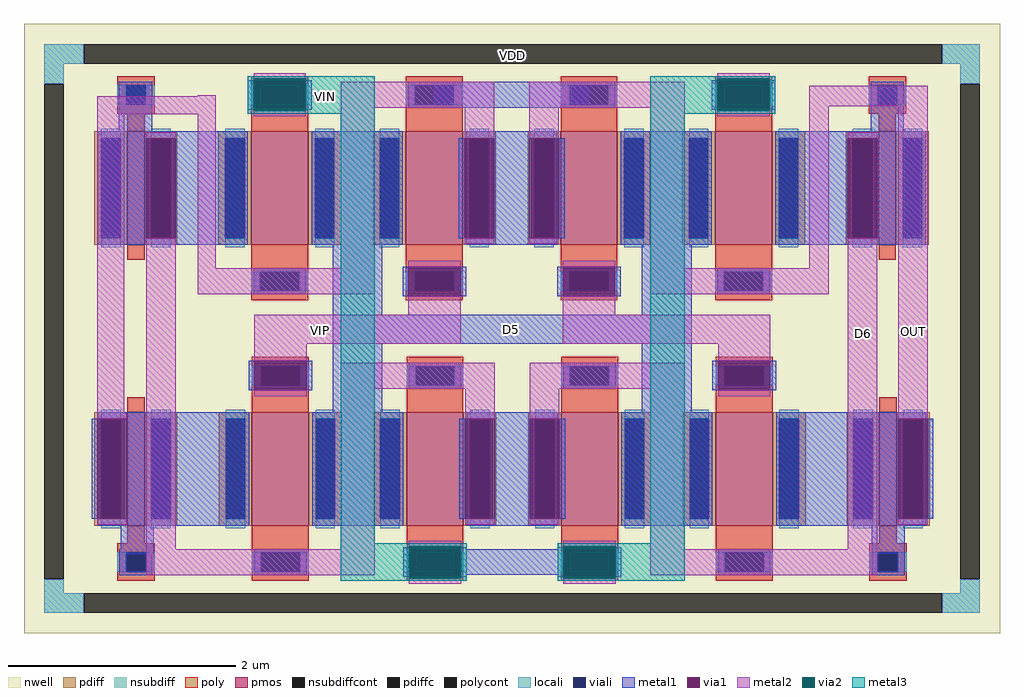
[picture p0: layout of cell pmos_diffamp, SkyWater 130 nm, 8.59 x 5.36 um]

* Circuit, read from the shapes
.subckt pmos_diffamp VIN VIP D5 OUT VDD D6
XM1 OUT OUT OUT VDD sky130_fd_pr__pfet_01v8 w=1 l=0.15 m=2
XM2 D6 D6 D6 VDD sky130_fd_pr__pfet_01v8 w=1 l=0.15 m=2
XM3 D5 VIN D6 VDD sky130_fd_pr__pfet_01v8 w=1 l=0.5 m=4
XM4 D5 VIP OUT VDD sky130_fd_pr__pfet_01v8 w=1 l=0.5 m=4
.ends

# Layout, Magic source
magic
tech sky130A
magscale 1 2
<< nwell >>
rect -306 -578 1411 494
<< nsubdiff >>
rect -270 424 -201 458
rect 1309 424 1375 458
rect -270 389 -236 424
rect -270 -508 -236 -483
rect 1341 389 1375 424
rect 1341 -508 1375 -483
rect -270 -542 -201 -508
rect 1309 -542 1375 -508
<< nsubdiffcont >>
rect -201 424 1309 458
rect -270 -483 -236 389
rect 1341 -483 1375 389
rect -201 -542 1309 -508
<< locali >>
rect -270 424 -201 458
rect 1309 424 1375 458
rect -270 389 -236 424
rect -270 -508 -236 -483
rect 1341 389 1375 424
rect 1341 -508 1375 -483
rect -270 -542 -201 -508
rect 1309 -542 1375 -508
<< metal1 >>
rect -139 305 -80 392
rect 88 343 98 395
rect 190 343 200 395
rect 415 346 689 392
rect 904 343 914 395
rect 1006 343 1016 395
rect 1184 305 1242 392
rect -176 293 88 305
rect -176 117 -91 293
rect -39 117 88 293
rect -176 105 88 117
rect 200 105 360 305
rect 472 293 632 305
rect 459 117 469 293
rect 521 117 583 293
rect 635 117 645 293
rect 472 105 632 117
rect 744 105 904 305
rect 1016 293 1280 305
rect 1016 117 1143 293
rect 1195 117 1280 293
rect 1016 105 1280 117
rect 237 -18 324 105
rect 360 15 370 67
rect 462 15 472 67
rect 632 15 642 67
rect 734 15 744 67
rect 781 -18 869 105
rect 237 -69 869 -18
rect 89 -151 99 -99
rect 191 -151 201 -99
rect 237 -189 324 -69
rect 781 -189 869 -69
rect 905 -151 915 -99
rect 1007 -151 1017 -99
rect -174 -201 90 -189
rect -187 -377 -177 -201
rect -125 -377 90 -201
rect -174 -389 90 -377
rect 201 -389 361 -189
rect 473 -201 633 -189
rect 460 -377 470 -201
rect 522 -377 584 -201
rect 636 -377 646 -201
rect 473 -389 633 -377
rect 745 -389 905 -189
rect 1017 -201 1281 -189
rect 1017 -377 1232 -201
rect 1284 -377 1294 -201
rect 1017 -389 1281 -377
rect -136 -439 -78 -389
rect 361 -479 371 -427
rect 463 -430 473 -427
rect 633 -430 643 -427
rect 463 -475 643 -430
rect 463 -479 473 -475
rect 633 -479 643 -475
rect 735 -479 745 -427
rect 1185 -438 1243 -389
<< via1 >>
rect 98 343 190 395
rect 914 343 1006 395
rect -91 117 -39 293
rect 469 117 521 293
rect 583 117 635 293
rect 1143 117 1195 293
rect 370 15 462 67
rect 642 15 734 67
rect 99 -151 191 -99
rect 915 -151 1007 -99
rect -177 -377 -125 -201
rect 470 -377 522 -201
rect 584 -377 636 -201
rect 1232 -377 1284 -201
rect 371 -479 463 -427
rect 643 -479 735 -427
<< metal2 >>
rect 98 397 190 407
rect 0 367 31 368
rect -177 335 31 367
rect -177 -191 -130 335
rect -91 293 -39 303
rect -177 -201 -125 -191
rect -177 -387 -125 -377
rect -91 -430 -39 117
rect 0 64 31 335
rect 914 397 1006 407
rect 98 331 190 341
rect 251 346 521 392
rect 251 64 311 346
rect 469 293 521 346
rect 469 107 521 117
rect 583 346 856 392
rect 583 293 635 346
rect 583 107 635 117
rect 0 18 311 64
rect 370 67 462 77
rect 370 -18 462 15
rect 99 -69 462 -18
rect 642 67 734 77
rect 796 64 856 346
rect 914 331 1006 341
rect 1075 349 1284 385
rect 1075 64 1110 349
rect 796 18 1110 64
rect 1143 293 1195 303
rect 642 -18 734 15
rect 642 -69 1007 -18
rect 99 -99 191 -69
rect 915 -99 1007 -69
rect 99 -161 191 -151
rect 251 -148 522 -102
rect 251 -430 311 -148
rect 470 -201 522 -148
rect 470 -387 522 -377
rect 584 -148 856 -102
rect 584 -201 636 -148
rect 584 -387 636 -377
rect -91 -476 311 -430
rect 371 -425 463 -415
rect 371 -491 463 -481
rect 643 -425 735 -415
rect 796 -430 856 -148
rect 915 -161 1007 -151
rect 1143 -430 1195 117
rect 1232 -201 1284 349
rect 1232 -387 1284 -377
rect 796 -476 1195 -430
rect 643 -491 735 -481
<< via2 >>
rect 98 395 190 397
rect 98 343 190 395
rect 914 395 1006 397
rect 98 341 190 343
rect 914 343 1006 395
rect 914 341 1006 343
rect 371 -427 463 -425
rect 371 -479 463 -427
rect 371 -481 463 -479
rect 643 -427 735 -425
rect 643 -479 735 -427
rect 643 -481 735 -479
<< metal3 >>
rect 88 397 311 402
rect 88 341 98 397
rect 190 341 311 397
rect 88 336 311 341
rect 251 -420 311 336
rect 796 397 1016 402
rect 796 341 914 397
rect 1006 341 1016 397
rect 796 336 1016 341
rect 796 -420 856 336
rect 251 -425 473 -420
rect 251 -481 371 -425
rect 463 -481 473 -425
rect 251 -486 473 -481
rect 633 -425 856 -420
rect 633 -481 643 -425
rect 735 -481 856 -425
rect 633 -486 856 -481
use sky130_fd_pr__pfet_01v8_BH5GQ5  sky130_fd_pr__pfet_01v8_BH5GQ5_0
transform 1 0 552 0 1 205
box -552 -200 552 200
use sky130_fd_pr__pfet_01v8_BH5GQ5  sky130_fd_pr__pfet_01v8_BH5GQ5_1
transform 1 0 553 0 1 -289
box -552 -200 552 200
use sky130_fd_pr__pfet_01v8_LA8JHL  sky130_fd_pr__pfet_01v8_LA8JHL_0
transform 1 0 -109 0 1 -325
box -109 -164 109 198
use sky130_fd_pr__pfet_01v8_LA8JHL  sky130_fd_pr__pfet_01v8_LA8JHL_1
transform 1 0 1214 0 1 -325
box -109 -164 109 198
use sky130_fd_pr__pfet_01v8_MA8JHN  sky130_fd_pr__pfet_01v8_MA8JHN_0
transform 1 0 -109 0 1 241
box -109 -198 109 164
use sky130_fd_pr__pfet_01v8_MA8JHN  sky130_fd_pr__pfet_01v8_MA8JHN_1
transform 1 0 1213 0 1 241
box -109 -198 109 164
<< labels >>
flabel metal3 224 367 224 367 0 FreeSans 160 0 0 0 VIN
port 0 nsew
flabel metal2 216 -46 216 -46 0 FreeSans 160 0 0 0 VIP
port 1 nsew
flabel metal1 552 -44 552 -44 0 FreeSans 160 0 0 0 D5
port 2 nsew
flabel metal2 1258 -47 1259 -46 0 FreeSans 160 0 0 0 OUT
port 3 nsew
flabel nsubdiffcont 553 439 553 439 0 FreeSans 160 0 0 0 VDD
port 4 nsew
flabel metal2 1171 -51 1171 -51 0 FreeSans 160 0 0 0 D6
port 5 nsew
<< end >>

# cell sky130_fd_pr__pfet_01v8_BH5GQ5: kit device sky130_fd_pr__pfet_01v8, w 1 l 0.5 m 1 nf 4 diffcov 100 polycov 100 guard 0 glc 1 grc 1 gtc 1 gbc 1 tbcov 100 rlcov 100 topc 1 botc 1 poverlap 0 doverlap 0 lmin 0.15 wmin 0.42 compatible {sky130_fd_pr__pfet_01v8 sky130_fd_pr__pfet_01v8_lvt sky130_fd_pr__pfet_01v8_hvt sky130_fd_pr__pfet_g5v0d10v5} full_metal 1 viasrc 100 viadrn 100 viagate 100 viagb 0 viagr 0 viagl 0 viagt 0

# cell sky130_fd_pr__pfet_01v8_LA8JHL: kit device sky130_fd_pr__pfet_01v8, w 1 l 0.15 m 1 nf 1 diffcov 100 polycov 100 guard 0 glc 1 grc 1 gtc 1 gbc 1 tbcov 100 rlcov 100 topc 0 botc 1 poverlap 0 doverlap 1 lmin 0.15 wmin 0.42 compatible {sky130_fd_pr__pfet_01v8 sky130_fd_pr__pfet_01v8_lvt sky130_fd_pr__pfet_01v8_hvt sky130_fd_pr__pfet_g5v0d10v5} full_metal 1 viasrc 100 viadrn 100 viagate 100 viagb 0 viagr 0 viagl 0 viagt 0

# cell sky130_fd_pr__pfet_01v8_MA8JHN: kit device sky130_fd_pr__pfet_01v8, w 1 l 0.15 m 1 nf 1 diffcov 100 polycov 100 guard 0 glc 1 grc 1 gtc 1 gbc 1 tbcov 100 rlcov 100 topc 1 botc 0 poverlap 0 doverlap 1 lmin 0.15 wmin 0.42 compatible {sky130_fd_pr__pfet_01v8 sky130_fd_pr__pfet_01v8_lvt sky130_fd_pr__pfet_01v8_hvt sky130_fd_pr__pfet_g5v0d10v5} full_metal 1 viasrc 100 viadrn 100 viagate 100 viagb 0 viagr 0 viagl 0 viagt 0
